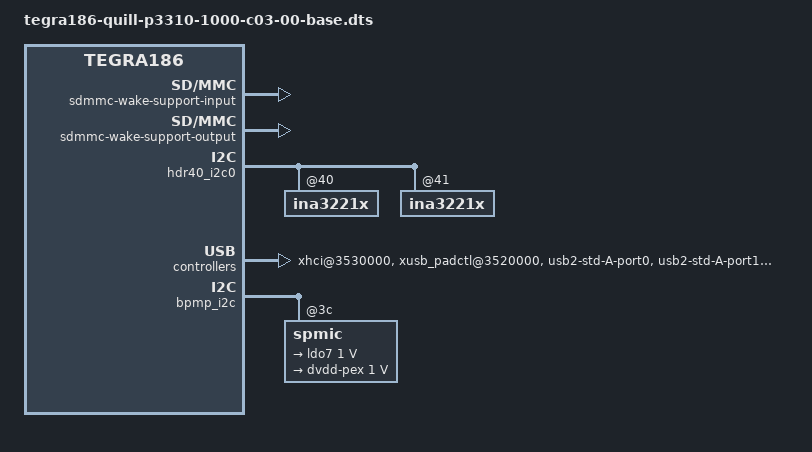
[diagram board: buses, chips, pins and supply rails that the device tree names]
/*
 * tegra186-quill-p3310-c03-00-base.dts Quill C03 Board
 *
 * Copyright (c) 2016-2019, NVIDIA CORPORATION. All rights reserved.
 *
 * This program is free software; you can redistribute it and/or modify
 * it under the terms of the GNU General Public License as published by
 * the Free Software Foundation; version 2 of the License.
 *
 * This program is distributed in the hope that it will be useful, but WITHOUT
 * ANY WARRANTY; without even the implied warranty of MERCHANTABILITY or
 * FITNESS FOR A PARTICULAR PURPOSE.  See the GNU General Public License for
 * more details.
 */

#include "tegra186-quill-p3310-1000-a00-00-base.dts"

/ {
	nvidia,dtsfilename = __FILE__;
	nvidia,dtbbuildtime = __DATE__, __TIME__;
	nvidia,fastboot-usb-vid = <0x0955>;
	nvidia,fastboot-usb-pid = <0xee16>;

	pinmux@2430000 {
		common {
			gpio_edp2_pp5 {
				status = "okay";
			};

			gpio_edp3_pp6 {
				status = "okay";
			};
		};
	};

	gpio@2200000 {
		/* gpio-name for 40-pin header, gpio-name given as COL(10) x ROW(20) */
		gpio-line-names = "",   "",     "",     "",     "",     "",     "",     "",     "",     "",
		"",     "",     "",    "",    "",     "",     "",    "",    "",     "",
		"",     "",     "",     "",     "",     "",     "",     "",     "",     "",
		"",     "",     "",     "",     "",     "",     "",     "",     "",      "",
		"",     "",     "",     "",     "",     "",     "",     "",     "",     "",
		"",    "",    "",     "",     "",     "",     "",     "",     "",     "",
		"",     "",     "",     "",     "",     "",     "",     "",     "GPIO8_ALS_PROX_INT",     "GPIO11_AP_WAKE_BT",
		"",     "",     "I2S0_CLK",     "I2S0_SDOUT",     "I2S0_SDIN",     "I2S0_LRCLK",     "AUDIO_MCLK",    "GPIO20_AUD_INT",    "GPIO1_AUD_RST",   "",
		"",     "",     "",     "",     "",     "",     "",     "",     "",     "",
		"",     "",     "",     "",     "",     "",     "",     "",     "",     "",
		"",     "",     "",     "",     "",     "",     "",     "SPI1_CLK",     "SPI1_MISO",     "SPI1_MOSI",
		"SPI1_CS0",     "",     "",     "",     "",     "",     "",     "",     "",     "",
		"",     "",     "",     "",     "",     "",     "",     "",     "",     "",
		"",     "",     "",     "",     "",     "",     "",     "",     "",     "",
		"",     "",     "",     "",     "",     "",     "UART0_RTS",     "UART0_CTS",     "",     "",
		"",     "",     "",     "",     "",     "",     "",     "",     "",     "",
		"",     "GPIO16_MDM_WAKE_AP",     "",     "",     "",     "",     "",     "",     "",   "",
		"",     "",     "",     "",     "",     "",     "",     "",     "",     "";

		sdmmc-wake-support-input {
			status = "okay";
		};

		sdmmc-wake-support-output {
			status = "okay";
		};
	};

	gpio@c2f0000 {
		/* gpio-name for 40-pin header, gpio-name given as COL(10) x ROW(20) */
		gpio-line-names = "",   "",     "",     "",     "",     "",     "",     "",     "",     "",
		"",     "",     "",    "",    "",     "",     "",    "",    "",     "",
		"",     "",     "",     "",     "",     "",     "",     "",     "",     "",
		"",     "",     "",     "",     "",     "",     "",     "",     "",      "",
		"AO_DMIC_IN_DAT",     "AO_DMIC_IN_CLK",     "GPIO9_MOTION_INT",     "",     "",     "",     "",     "",     "",     "",
		"",    "",    "",     "",     "",     "",     "",     "",     "",     "";
	};

	fixed-regulators {
		regulator@1 {
			gpio = <&tegra_main_gpio TEGRA_MAIN_GPIO(P, 6) 0>;
                };
	};

	sdhci@3400000 {
		cd-gpios = <&tegra_main_gpio TEGRA_MAIN_GPIO(P, 5) 0>;
		nvidia,cd-wakeup-capable;
	};

	hdr40_i2c0: i2c@3160000 {
		ina3221x@40 {
			channel@0 {
				ti,shunt-resistor-mohm = <10>;
			};
			channel@1 {
				ti,shunt-resistor-mohm = <10>;
			};
		};
		ina3221x@41 {
			channel@0 {
				ti,shunt-resistor-mohm = <20>;
			};
			channel@1 {
				ti,shunt-resistor-mohm = <10>;
			};
			channel@2 {
				ti,rail-name = "VDD_SYS_DDR";
				ti,shunt-resistor-mohm = <10>;
			};
		};
	};

	hdr40_i2c1: i2c@c240000 {
		bmi160@69 {
			compatible = "bmi,bmi160";
			reg = <0x69>;
			interrupt-parent = <&tegra_aon_gpio>;
			interrupts = <TEGRA_AON_GPIO(AA, 2) 0x01>;
			accelerometer_matrix    = [01 00 00 00 01 00 00 00 01];
			gyroscope_matrix        = [01 00 00 00 01 00 00 00 01];
			accelerometer_delay_us_min = <1250>;
			gyroscope_delay_us_min = <1250>;
			vdd-supply = <&spmic_sd3>;
			vdd_IO-supply = <&spmic_sd3>;
			status = "disabled";
		};
	};

	mttcan@c310000 {
		status = "okay";
		gpio_can_stb = <&tegra_aon_gpio TEGRA_AON_GPIO(AA, 0) GPIO_ACTIVE_HIGH>;
		gpio_can_en = <&tegra_aon_gpio TEGRA_AON_GPIO(AA, 1) GPIO_ACTIVE_HIGH>;
	};

	mttcan@c320000 {
		status = "okay";
		gpio_can_stb = <&tegra_aon_gpio TEGRA_AON_GPIO(AA, 6) GPIO_ACTIVE_HIGH>;
		gpio_can_en = <&tegra_aon_gpio TEGRA_AON_GPIO(AA, 7) GPIO_ACTIVE_HIGH>;
	};

	ahci-sata@3507000 {
		gpios = <&spmic 7 0>;
	};

	// New version for novacarrier
	// This overrides the definitions in tegra186-quill-p3310-1000-a00-00-base.dts
	pcie-controller@10003000 {
		pci@1,0 {
			nvidia,num-lanes = <2>;
			nvidia,disable-clock-request;
		};
		pci@2,0 {
			nvidia,num-lanes = <1>;
		};
		pci@3,0 {
			nvidia,num-lanes = <1>;
		};
	};

	// New version for novacarrier
	// This overrides the definitions in tegra186-quill-p3310-1000-a00-00-base.dts
	xhci@3530000 {
		status = "okay";
		phys = <&{/xusb_padctl@3520000/pads/usb2/lanes/usb2-0}>,
			<&{/xusb_padctl@3520000/pads/usb2/lanes/usb2-1}>,
			<&{/xusb_padctl@3520000/pads/usb2/lanes/usb2-2}>,
			<&{/xusb_padctl@3520000/pads/usb3/lanes/usb3-0}>,
			<&{/xusb_padctl@3520000/pads/usb3/lanes/usb3-1}>,
			<&{/xusb_padctl@3520000/pads/usb3/lanes/usb3-2}>;
		phy-names = "usb2-0", "usb2-1", "usb2-2", "usb3-0", "usb3-1", "usb3-2";
		nvidia,boost_cpu_freq = <1200>;
	};

	// Delete the charger detect and usb device mode changing nodes
	// This means the system will not get confused when we plug/unplug things into USB0
	/delete-node/ xudc@3550000;
	/delete-node/ usb_cd;

	// New version for novacarrier
	// This overrides the definitions in tegra186-quill-p3310-1000-a00-00-base.dts
	xusb_padctl@3520000 {
		status = "okay";
		pinctrl-0 = <&vbus_en0_default_state>;
		pinctrl-1 = <&vbus_en1_default_state>;
		pinctrl-2 = <&vbus_en0_sfio_tristate_state>;
		pinctrl-3 = <&vbus_en1_sfio_tristate_state>;
		pinctrl-4 = <&vbus_en0_sfio_passthrough_state>;
		pinctrl-5 = <&vbus_en1_sfio_passthrough_state>;
		pinctrl-names = "vbus_en0_default", "vbus_en1_default",
			"vbus_en0_sfio_tristate", "vbus_en1_sfio_tristate",
			"vbus_en0_sfio_passthrough", "vbus_en1_sfio_passthrough";

		pads {
			usb2 {
				lanes {
					usb2-0 {
						nvidia,function = "xusb";
						status = "okay";
					};
					usb2-1 {
						nvidia,function = "xusb";
						status = "okay";
					};
					usb2-2 {
						nvidia,function = "xusb";
						status = "okay";
					};
				};
			};
			usb3 {
				lanes {
					usb3-0 {
						nvidia,function = "xusb";
						status = "okay";
					};
					usb3-1 {
						nvidia,function = "xusb";
						status = "okay";
					};
					usb3-2 {
						nvidia,function = "xusb";
						status = "okay";
					};
				};
			};
		};

		ports {
			usb2-0 {
				status = "okay";
				mode = "host";
				vbus-supply = <&vdd_usb0_5v>;
			};
			usb2-1 {
				status = "okay";
				mode = "host";
				vbus-supply = <&vdd_usb1_5v>;
			};
			usb2-2 {
				status = "okay";
				mode = "host";
				vbus-supply = <&vdd_usb2_5v>;
			};
			usb3-0 {
				nvidia,usb2-companion = <2>;
				status = "okay";
			};
			usb3-1 {
				nvidia,usb2-companion = <1>;
				status = "okay";
			};
			usb3-2 {
				nvidia,usb2-companion = <0>;
				status = "okay";
			};
		};
	};

	pinctrl@3520000 {
		status = "okay";
		pinctrl-0 = <&tegra_xusb_padctl_pinmux_default>;
		// pinctrl-1 = <&vbus_en0_sfio_tristate_state>;
		// pinctrl-2 = <&vbus_en1_sfio_tristate_state>;
		// pinctrl-3 = <&vbus_en0_sfio_passthrough_state>;
		// pinctrl-4 = <&vbus_en1_sfio_passthrough_state>;
		// pinctrl-5 = <&vbus_en0_default_state>;
		// pinctrl-6 = <&vbus_en1_default_state>;
		pinctrl-names = "default";/*,
			"vbus_en0_sfio_tristate", "vbus_en1_sfio_tristate",
			"vbus_en0_sfio_passthrough", "vbus_en1_sfio_passthrough",
			"vbus_en0_default", "vbus_en1_default";*/
		tegra_xusb_padctl_pinmux_default: pinmux {
			/delete-property/ usb2-micro-AB;
			/delete-property/ e3325-usb3-std-A-HS;
			/delete-property/ e3325-usb3-std-A-SS;
				
			usb2-std-A-port0 {
				nvidia,lanes = "usb2-0";
				nvidia,function = "xusb";
				nvidia,port-cap = <TEGRA_PADCTL_PORT_HOST_ONLY>;
				status = "okay";
			};
			usb2-std-A-port1 {
				nvidia,lanes = "usb2-1";
				nvidia,function = "xusb";
				nvidia,port-cap = <TEGRA_PADCTL_PORT_HOST_ONLY>;
				status = "okay";
			};
			usb2-std-A-port2 {
				nvidia,lanes = "usb2-2";
				nvidia,function = "xusb";
				nvidia,port-cap = <TEGRA_PADCTL_PORT_HOST_ONLY>;
				status = "okay";
			};
			usb3-std-A-port0 {
				nvidia,lanes = "usb3-0";
				nvidia,port-cap = <TEGRA_PADCTL_PORT_HOST_ONLY>;
				status = "okay";
			};
			usb3-std-A-port1 {
				nvidia,lanes = "usb3-1";
				nvidia,port-cap = <TEGRA_PADCTL_PORT_HOST_ONLY>;
				status = "okay";
			};
			usb3-std-A-port2 {
				nvidia,lanes = "usb3-2";
				nvidia,port-cap = <TEGRA_PADCTL_PORT_HOST_ONLY>;
				status = "okay";
			};
		};
	};

	bluedroid_pm {
		bluedroid_pm,reset-gpio = <&tegra_main_gpio TEGRA_MAIN_GPIO(H, 5) 0>;
	};

	bpmp_i2c {
		spmic@3c {
			pinmux@0 {
				pin_gpio2 {
					status = "disabled";
				};
				pin_gpio3 {
					status = "disabled";
				};
				pin_gpio7 {
					drive-push-pull = <1>;
				};
			};

			regulators {
				ldo0 {
					maxim,active-fps-source = <MAX77620_FPS_SRC_NONE>;
				};

				ldo6 {
					maxim,active-fps-source = <MAX77620_FPS_SRC_NONE>;
					regulator-boot-on;
					regulator-always-on;
				};

				ldo7 {
					regulator-min-microvolt = <1000000>;
					regulator-max-microvolt = <1000000>;
				};

				ldo8 {
					regulator-name = "dvdd-pex";
					regulator-min-microvolt = <1000000>;
					regulator-max-microvolt = <1000000>;
				};
			};
		};
	};

	sound {
		hdr40_snd_link_i2s: nvidia,dai-link-1 { };
	};
};
